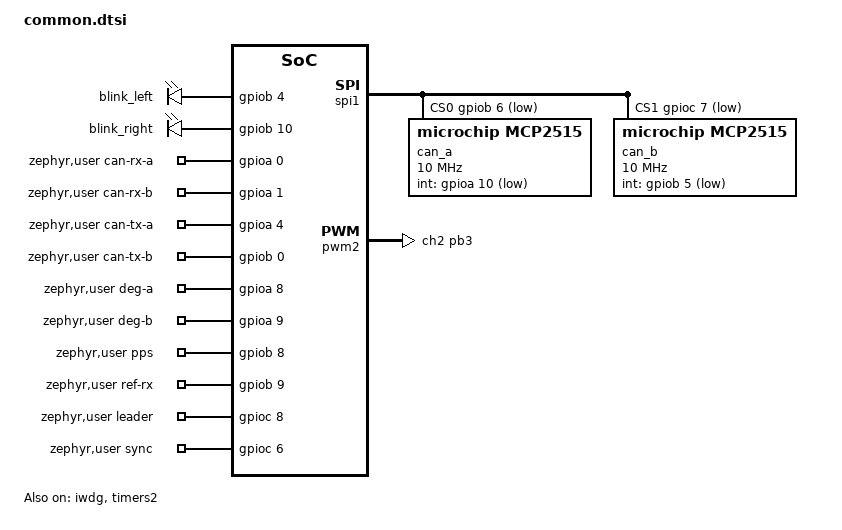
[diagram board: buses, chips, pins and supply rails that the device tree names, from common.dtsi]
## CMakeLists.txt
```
# one app for both STM32 zones:
#   west build -b nucleo_f401re -d build-front stm32 -- -DZONE=front
#   west build -b nucleo_f401re -d build-rear  stm32 -- -DZONE=rear
cmake_minimum_required(VERSION 3.20.0)

if(NOT ZONE MATCHES "^(front|rear)$")
  message(FATAL_ERROR "build with -DZONE=front or -DZONE=rear")
endif()
set(DTC_OVERLAY_FILE ${CMAKE_CURRENT_SOURCE_DIR}/${ZONE}.overlay)

find_package(Zephyr REQUIRED HINTS $ENV{ZEPHYR_BASE})
project(lab5_zone)

# raft.conf (shared with the Pi) -> raft_conf.h; editing raft.conf re-runs this
set(RAFT_CONF ${CMAKE_CURRENT_SOURCE_DIR}/../raft.conf)
set(RAFT_CONF_H ${CMAKE_CURRENT_BINARY_DIR}/gen/raft_conf.h)
file(MAKE_DIRECTORY ${CMAKE_CURRENT_BINARY_DIR}/gen)
execute_process(
  COMMAND ${PYTHON_EXECUTABLE} ${CMAKE_CURRENT_SOURCE_DIR}/../tools/gen_raft_conf.py ${RAFT_CONF} ${RAFT_CONF_H}
  RESULT_VARIABLE gen_result)
if(NOT gen_result EQUAL 0)
  message(FATAL_ERROR "raft.conf: see the error above")
endif()
set_property(DIRECTORY APPEND PROPERTY CMAKE_CONFIGURE_DEPENDS ${RAFT_CONF})

target_include_directories(app PRIVATE ../common ${CMAKE_CURRENT_BINARY_DIR}/gen)
target_compile_definitions(app PRIVATE RAFT_TRACK_REPLAY=0)
target_sources(app PRIVATE src/main.c src/can_io.c src/monitor.c src/blinker.c src/${ZONE}.c
  src/raft_agent.c src/pps.c ../common/raft.c ../common/timesync.c)
if(ZONE STREQUAL "front")
  target_compile_definitions(app PRIVATE ZONE_FRONT)
endif()
```

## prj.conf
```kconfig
CONFIG_GPIO=y
CONFIG_PWM=y
CONFIG_CAN=y
CONFIG_WATCHDOG=y
CONFIG_PRINTK=y

# MCP2515 driver thread runs above every app thread (app uses 3..8)
CONFIG_CAN_MCP2515_INT_THREAD_PRIO=2

# Lab 5: 64-bit cycle counter for the microsecond clock behind global time (84 MHz)
CONFIG_CORTEX_M_SYSTICK_64BIT_CYCLE_COUNTER=y
# Raft log (30 KB) and agent state live in .bss; console printouts go through printk
CONFIG_MAIN_STACK_SIZE=2048
```

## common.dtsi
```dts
/* pins shared by N2 and N3 (team pin reference); front/rear.overlay add the rest */
/ {
	blinkers {
		compatible = "gpio-leds";
		blink_left: blink_left { gpios = <&gpiob 4 GPIO_ACTIVE_HIGH>; };   /* FL / RL, D5 PB4 */
		blink_right: blink_right { gpios = <&gpiob 10 GPIO_ACTIVE_HIGH>; }; /* FR / RR, D6 PB10 */
	};

	zephyr,user {
		can-rx-a-gpios = <&gpioa 0 GPIO_ACTIVE_HIGH>;  /* CAN_RX_A, A0 PA0 */
		can-rx-b-gpios = <&gpioa 1 GPIO_ACTIVE_HIGH>;  /* CAN_RX_B, A1 PA1 */
		can-tx-a-gpios = <&gpioa 4 GPIO_ACTIVE_HIGH>;  /* CAN_TX_A, A2 PA4 */
		can-tx-b-gpios = <&gpiob 0 GPIO_ACTIVE_HIGH>;  /* CAN_TX_B, A3 PB0 */
		deg-a-gpios = <&gpioa 8 GPIO_ACTIVE_HIGH>;     /* DEG_A, D7 PA8 */
		deg-b-gpios = <&gpioa 9 GPIO_ACTIVE_HIGH>;     /* DEG_B, D8 PA9 */
		/* Lab 5 */
		pps-gpios = <&gpiob 8 GPIO_ACTIVE_HIGH>;       /* PPS, D15 PB8 */
		ref-rx-gpios = <&gpiob 9 GPIO_ACTIVE_HIGH>;    /* REF_RX, D14 PB9 */
		leader-gpios = <&gpioc 8 GPIO_ACTIVE_HIGH>;    /* LEADER LED, CN10-2 PC8 */
		sync-gpios = <&gpioc 6 GPIO_ACTIVE_HIGH>;      /* SYNC LED, CN10-4 PC6 */
	};
};

&spi1 {
	status = "okay";
	cs-gpios = <&gpiob 6 (GPIO_ACTIVE_LOW | GPIO_PULL_UP)>,  /* CAN A CS: D10 PB6 */
		   <&gpioc 7 (GPIO_ACTIVE_LOW | GPIO_PULL_UP)>;  /* CAN B CS: D9 PC7 */

	can_a: mcp2515@0 {
		compatible = "microchip,mcp2515";
		reg = <0>;
		spi-max-frequency = <10000000>;          /* MCP2515 max; STM32 rounds down to 5.25 MHz */
		int-gpios = <&gpioa 10 GPIO_ACTIVE_LOW>; /* D2 PA10 */
		osc-freq = <16000000>;                   /* must match the crystal on the module */
		bitrate = <500000>;
		status = "okay";
	};

	can_b: mcp2515@1 {
		compatible = "microchip,mcp2515";
		reg = <1>;
		spi-max-frequency = <10000000>;
		int-gpios = <&gpiob 5 GPIO_ACTIVE_LOW>;  /* D4 PB5 */
		osc-freq = <16000000>;
		bitrate = <500000>;
		status = "okay";
	};
};

/* board defaults that sit on our pins */
&usart1 { status = "disabled"; }; /* PB6/PB7: PB6 is CAN A CS */
&i2c3 { status = "disabled"; };   /* PA8/PC9: PA8 is DEG_A */
&i2c1 { status = "disabled"; };   /* PB8/PB9: PPS and REF_RX */
&adc1 { status = "disabled"; };   /* PA0: CAN_RX_A */

/* independent watchdog (R4.5) */
&iwdg { status = "okay"; };

/* TIM2 at 1 MHz (84 MHz / 84), channel 2 on PB3 only, so nothing lands on PA5 (SPI1 SCK) */
&timers2 {
	status = "okay";
	st,prescaler = <83>;
};

&pwm2 {
	pinctrl-0 = <&tim2_ch2_pb3>;
	pinctrl-names = "default";
	status = "okay";
};
```

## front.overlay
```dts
/* N2, steering zone */
#include "common.dtsi"

/ {
	zephyr,user {
		pwms = <&pwm2 2 PWM_MSEC(20) PWM_POLARITY_NORMAL>; /* SRV, D3 PB3 */
		relay-tx-gpios = <&gpioc 1 GPIO_ACTIVE_HIGH>;      /* RELAY_TX, A4 PC1 */
		err-gpios = <&gpioc 0 GPIO_ACTIVE_HIGH>;           /* ERR, A5 PC0 */
	};
};
```

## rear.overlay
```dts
/* N3, drivetrain zone (no ERR test point on N3) */
#include "common.dtsi"

/ {
	zephyr,user {
		pwms = <&pwm2 2 PWM_USEC(100) PWM_POLARITY_NORMAL>; /* PWM_OUT, D3 PB3, 10 kHz */
		pwm-set-gpios = <&gpioc 1 GPIO_ACTIVE_HIGH>;        /* PWM_SET, A4 PC1 */
		dir-a-gpios = <&gpioc 0 GPIO_ACTIVE_HIGH>;          /* DIR_A, A5 PC0 */
	};
};
```

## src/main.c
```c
#include <zephyr/sys/printk.h>
#include "zone.h"

int main(void)
{
	/* actuators first so the dispatch path never drives an unconfigured pin; the raft
	 * agent before CAN so it can take frames; monitor so heartbeats start only once both
	 * buses are up; PPS last */
	if (blinker_init() || actuator_init() || raft_agent_init() || can_io_init() ||
	    monitor_init() || pps_init()) {
		printk("zone %d: init failed\n", MY_ZONE);
		return 0;
	}
	printk("zone %d up\n", MY_ZONE);
	return 0;
}
```

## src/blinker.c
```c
/*
 * BLINK_F / BLINK_R on global time (Lab 5 Part 6).
 *
 * Lab 3: the lamps switched when the cockpit's BLINK frame arrived, so front and rear were
 * in step only while the Pi was there. Lab 5: the lamp state is a function of global time,
 * the same on every node, so they stay in step with no cockpit at all:
 *   - lamps change only on a 50 ms grid of global time;
 *   - hazards are on in the first half of each period counted from global time 0:
 *     2 Hz in the error state, 4 Hz in failure mode;
 *   - a turn signal counts its 1 Hz from the grid point the Pi picked for its start
 *     (CTRL b7 bits 2-7, 10-60 ms after the button, R2.4). Picking it on each STM32 from
 *     when CTRL arrived was not enough: a relayed copy arrives ~1 ms later, and just
 *     before a grid point that is a different grid point, 50 ms out of step;
 *   - failure mode is taken up only on a 250 ms boundary, where the 2 Hz and 4 Hz
 *     patterns both have an edge: every node learns it from the same REF, so every node
 *     switches on the same edge.
 */
#include <zephyr/drivers/gpio.h>
#include "timesync.h"
#include "zone.h"

#define GRID_US (BLINK_GRID_MS * 1000LL)
#define EARLY_US 200

static const struct gpio_dt_spec led_l = GPIO_DT_SPEC_GET(DT_NODELABEL(blink_left), gpios);
static const struct gpio_dt_spec led_r = GPIO_DT_SPEC_GET(DT_NODELABEL(blink_right), gpios);

static atomic_t ctrl_state = ATOMIC_INIT(BLINK_OFF);
static atomic_t ctrl_slot;
static atomic_t ctrl_ms;   /* k_uptime of the last CTRL */
static atomic_t ctrl_seen; /* 0 until the first CTRL */

/* called from dispatch for every valid CTRL */
void blinker_ctrl(uint8_t state, uint8_t slot)
{
	atomic_set(&ctrl_slot, slot);
	atomic_val_t old = atomic_set(&ctrl_state, state);

	atomic_set(&ctrl_ms, (atomic_val_t)k_uptime_get_32());
	atomic_set(&ctrl_seen, 1);
#ifdef ZONE_FRONT
	/* N2 logs the blinker on/off events (one node, so each change is logged once) */
	if (old != state) {
		static const uint8_t kind[] = { APP_BLINK_OFF, APP_LEFT_ON, APP_RIGHT_ON,
						APP_HAZARD_ON };

		raft_agent_event(kind[state & 3]);
	}
#else
	ARG_UNUSED(old);
#endif
}

/* on in the first half of each period counted from anchor; floor division, so a time
 * before 0 still lands on the right half */
static bool phase_on(int64_t g, int64_t anchor, int half_ms)
{
	return (ts_floor_div(g - anchor, half_ms * 1000LL) & 1) == 0;
}

static bool turn_on(int64_t g, int64_t anchor)
{
	return g >= anchor && phase_on(g, anchor, BLINK_HALF_MS);
}

/* the grid point nearest `edge` (within +/- 1.6 s) whose slot number is `slot` */
static int64_t slot_time(int64_t edge, uint8_t slot)
{
	int64_t k = ts_floor_div(edge, TURN_GRID_US);
	int delta = (int)((slot - k) & 0x3F);

	if (delta > 32) {
		delta -= 64;
	}
	return (k + delta) * TURN_GRID_US;
}

static void blink_task(void *p1, void *p2, void *p3)
{
	bool failure = false;
	uint8_t turn = BLINK_OFF, turn_slot = 0;
	int64_t turn_anchor = 0;
	int shown = -1;
	int64_t shown_anchor = -1;

	while (1) {
		int64_t edge = (ts_floor_div(global_gettime(), GRID_US) + 1) * GRID_US;

		k_sleep(K_TIMEOUT_ABS_US(global_to_local(edge) - EARLY_US));
		int64_t limit = local_us() + 2 * EARLY_US + 2000;

		while (global_gettime() < edge && local_us() < limit) {
		}

		if (edge - ts_floor_div(edge, HAZARD_HALF_MS * 1000LL) * HAZARD_HALF_MS * 1000LL == 0) {
			failure = raft_agent_failure_mode();
		}
		/* stamp first, then the clock, and a signed age: never "49 days old" for a CTRL
		 * that arrived in this same millisecond (the old `| 1` stamp did exactly that) */
		uint32_t stamp = (uint32_t)atomic_get(&ctrl_ms);
		int32_t age = (int32_t)(k_uptime_get_32() - stamp);
		bool fresh = atomic_get(&ctrl_seen) && age < BLINK_STALE_MS;
		uint8_t state = fresh ? (uint8_t)atomic_get(&ctrl_state) : BLINK_OFF;
		uint8_t slot = (uint8_t)atomic_get(&ctrl_slot);
		bool l, r;

		if (state == BLINK_LEFT || state == BLINK_RIGHT) {
			if (turn != state || turn_slot != slot) {
				/* latch it once: slot numbers repeat every 3.2 s */
				turn = state;
				turn_slot = slot;
				turn_anchor = slot_time(edge, slot); /* the 1 Hz starts there, lamps on */
			}
		} else if (fresh) {
			turn = BLINK_OFF; /* only a CTRL saying "not a turn" drops the latch */
		}

		if (failure) {
			l = r = phase_on(edge, 0, FAILURE_HALF_MS);
		} else if (monitor_in_error() || state == BLINK_HAZARD) {
			l = r = phase_on(edge, 0, HAZARD_HALF_MS);
		} else if (turn != BLINK_OFF && fresh) {
			bool on = turn_on(edge, turn_anchor);

			l = on && turn == BLINK_LEFT;
			r = on && turn == BLINK_RIGHT;
		} else {
			l = r = false;
		}
		gpio_pin_set_dt(&led_l, l);
		gpio_pin_set_dt(&led_r, r);

		/* say what the lamps are following, on every change: compare N2's and N3's lines */
		int mode = failure ? 4 : (monitor_in_error() || state == BLINK_HAZARD) ? 3 : turn;

		if (RAFT_CONF_DEBUG &&
		    (mode != shown || (turn != BLINK_OFF && turn_anchor != shown_anchor))) {
			static const char *const name[] = { "off", "LEFT 1 Hz", "RIGHT 1 Hz",
							    "hazard 2 Hz", "failure 4 Hz" };

			agent_printf("[%lld] blink: %s, global %lld.%06lld, turn start %lld.%06lld",
				     k_uptime_get(), name[mode], edge / 1000000, edge % 1000000,
				     turn_anchor / 1000000, turn_anchor % 1000000);
			shown = mode;
			shown_anchor = turn_anchor;
		}
	}
}

K_THREAD_DEFINE(blink_tid, 1024, blink_task, NULL, NULL, NULL, PRIO_ACT, 0, SYS_FOREVER_MS);

int blinker_init(void)
{
	if (!gpio_is_ready_dt(&led_l) || !gpio_is_ready_dt(&led_r) ||
	    gpio_pin_configure_dt(&led_l, GPIO_OUTPUT_INACTIVE) ||
	    gpio_pin_configure_dt(&led_r, GPIO_OUTPUT_INACTIVE)) {
		return -ENODEV;
	}
	k_thread_start(blink_tid);
	return 0;
}
```

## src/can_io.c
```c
/* both CAN controllers: receive + dedup + dispatch (CAN_RX), send on both buses, RELAY */
#include <string.h>
#include <zephyr/drivers/can.h>
#include <zephyr/drivers/gpio.h>
#include "zone.h"

#define USER DT_PATH(zephyr_user)

static const struct device *const can_dev[2] = {
	DEVICE_DT_GET(DT_NODELABEL(can_a)),
	DEVICE_DT_GET(DT_NODELABEL(can_b)),
};
static const struct gpio_dt_spec rx_pin[2] = {
	GPIO_DT_SPEC_GET(USER, can_rx_a_gpios),
	GPIO_DT_SPEC_GET(USER, can_rx_b_gpios),
};
static const struct gpio_dt_spec tx_pin[2] = {
	GPIO_DT_SPEC_GET(USER, can_tx_a_gpios),
	GPIO_DT_SPEC_GET(USER, can_tx_b_gpios),
};
static const struct gpio_dt_spec ref_rx_pin = GPIO_DT_SPEC_GET(USER, ref_rx_gpios);

/*
 * Zephyr's MCP2515 driver uses one TX buffer (MCP2515_TX_CNT = 1), so a frame queued
 * while another is still going out has to wait for it. 3 ms covers a few 270 us frames
 * ahead of it; on a dead bus the send gives up after that instead of blocking forever.
 */
#define TX_WAIT K_MSEC(3)

struct rx_item {
	struct can_frame f;
	int64_t rx_us; /* when the frame finished arriving: the time sync pairs these */
	uint8_t bus;   /* where it came from, or for the relay queue, where it goes */
};

K_MSGQ_DEFINE(rx_q, sizeof(struct rx_item), 16, 4);

/* runs in the MCP2515 driver thread: stamp, copy, hand off, nothing else */
static void rx_cb(const struct device *dev, struct can_frame *f, void *user)
{
	struct rx_item it = { .rx_us = local_us(), .f = *f, .bus = (uint8_t)(uintptr_t)user };

	ARG_UNUSED(dev);
	k_msgq_put(&rx_q, &it, K_NO_WAIT);
}

/* a non-NULL callback makes can_send return right away instead of waiting for the bus */
static void tx_done(const struct device *dev, int err, void *user)
{
	ARG_UNUSED(dev);
	ARG_UNUSED(err);
	ARG_UNUSED(user);
}

/* queue one frame on both controllers back to back; seq goes up once per message */
void send_both(uint16_t id, atomic_t *seq, uint8_t d[MSG_DLC])
{
	struct can_frame f = { .id = id, .dlc = MSG_DLC };

	d[0] = (d[0] & 0xF0) | (atomic_inc(seq) & 0x0F);
	memcpy(f.data, d, MSG_DLC);
	for (int bus = 0; bus < 2; bus++) {
		gpio_pin_set_dt(&tx_pin[bus], 1);
		/* a dead bus just loses its copy; the other bus still carries the frame */
		can_send(can_dev[bus], &f, TX_WAIT, tx_done, NULL);
		gpio_pin_set_dt(&tx_pin[bus], 0);
	}
}

/* REF: each bus gets its own payload (its own follow-up time) under one seq */
static void (*ref_done_cb)(int bus);

static void ref_tx_done(const struct device *dev, int err, void *user)
{
	ARG_UNUSED(dev);
	if (!err && ref_done_cb) {
		ref_done_cb((int)(uintptr_t)user);
	}
}

void send_ref(uint16_t id, atomic_t *seq, uint8_t d[2][MSG_DLC], void (*done)(int bus))
{
	uint8_t s = atomic_inc(seq) & 0x0F;

	ref_done_cb = done;
	for (int bus = 0; bus < 2; bus++) {
		struct can_frame f = { .id = id, .dlc = MSG_DLC };

		d[bus][0] = (d[bus][0] & 0xF0) | s;
		memcpy(f.data, d[bus], MSG_DLC);
		gpio_pin_set_dt(&tx_pin[bus], 1);
		can_send(can_dev[bus], &f, TX_WAIT, ref_tx_done, (void *)(uintptr_t)bus);
		gpio_pin_set_dt(&tx_pin[bus], 0);
	}
}

/* RELAY_TX is a test point on N2 only; N3 uses that pin for PWM_SET */
static const struct gpio_dt_spec relay_pin = GPIO_DT_SPEC_GET_OR(USER, relay_tx_gpios, {0});

K_MSGQ_DEFINE(relay_q, sizeof(struct rx_item), 16, 4);

atomic_t relay_zone; /* written by the raft agent from route_relay() */

/*
 * Forward-on-detect, as in Lab 3: once a zone is missing on one bus while it is still
 * talking on the other, everything it sends is copied across. Who does it comes from
 * route_relay() (route.h): N2, else N3 when N2 is off a bus, else the Pi, and never a node
 * the Raft network graph has off a bus. The same choice on every node.
 * A forwarded copy carries FLAG_RELAYED and is never forwarded again, and a receiver
 * that also got the direct copy drops the relayed one as a duplicate.
 */
static void relay_offer(const struct rx_item *it, int zone)
{
	int to = 1 - it->bus;

	if (atomic_get(&relay_zone) != MY_ZONE) {
		return;
	}
	if (monitor_hb_on_bus(zone, to) || monitor_bus_degraded(to)) {
		return;
	}
	struct rx_item out = { .f = it->f, .bus = to };
	out.f.data[0] |= FLAG_RELAYED;
	k_msgq_put(&relay_q, &out, K_NO_WAIT);
}

static void relay_task(void *p1, void *p2, void *p3)
{
	struct rx_item it;

	while (1) {
		k_msgq_get(&relay_q, &it, K_FOREVER);
		if (relay_pin.port) {
			gpio_pin_set_dt(&relay_pin, 1);
		}
		can_send(can_dev[it.bus], &it.f, TX_WAIT, tx_done, NULL);
		if (relay_pin.port) {
			gpio_pin_set_dt(&relay_pin, 0);
		}
	}
}

K_THREAD_DEFINE(relay_tid, 1024, relay_task, NULL, NULL, NULL, PRIO_RELAY, 0, SYS_FOREVER_MS);

static struct dedup dd[MSG_COUNT];

static void handle(const struct rx_item *it)
{
	const struct can_frame *f = &it->f;
	int idx = msg_index(f->id);
	int zone = msg_sender(f->id, f->data);

	if (f->dlc != MSG_DLC || (f->flags & (CAN_FRAME_IDE | CAN_FRAME_RTR)) || idx < 0 ||
	    zone < ZONE_N1 || zone > ZONE_N3 || zone == MY_ZONE) {
		return;
	}
	bool relayed = f->data[0] & FLAG_RELAYED;

	/* both copies count for liveness, only the first one goes on to the tasks */
	monitor_rx(it->bus, zone, is_hb(f->id), relayed);
	bool copy = dedup_is_copy(&dd[idx], SEQ(f->data), it->bus);

	if (!copy && !relayed) {
		relay_offer(it, zone);
	}
	/* brake path first: nothing below may delay CTRL */
	if (!copy && f->id == ID_CTRL) {
		struct ctrl c;
		bool ok = ctrl_decode(f->data, &c);

		monitor_ctrl(ok);
		if (ok) {
			actuator_ctrl(&c);
			blinker_ctrl(c.blink, c.turn_slot);
		}
	}
	if (!copy && raft_base(f->id) == ID_REF_BASE) {
		gpio_pin_toggle_dt(&ref_rx_pin);
	}
	/* Raft, routing and time sync: every copy, through the agent's queue */
	if (is_raft(f->id) || is_hb(f->id)) {
		struct raft_rx r = { .bus = it->bus, .relayed = relayed, .first = !copy,
				     .rx_us = it->rx_us };

		r.f.id = (uint16_t)f->id;
		memcpy(r.f.data, f->data, MSG_DLC);
		raft_agent_rx(&r);
	}
	/* FAULT and FORCE need nothing here; BLINK (Lab 3) is no longer sent */
}

/* CAN_RX dispatch: one path for both buses */
static void dispatch_task(void *p1, void *p2, void *p3)
{
	struct rx_item it;

	while (1) {
		k_msgq_get(&rx_q, &it, K_FOREVER);
		gpio_pin_set_dt(&rx_pin[it.bus], 1);
		handle(&it);
		gpio_pin_set_dt(&rx_pin[it.bus], 0);
	}
}

K_THREAD_DEFINE(dispatch_tid, 1024, dispatch_task, NULL, NULL, NULL, PRIO_DISPATCH, 0,
		SYS_FOREVER_MS);

int can_io_init(void)
{
#define FILTER(i, m) { .id = (i), .mask = (m) },
	static const struct can_filter filters[] = { CAN_RX_FILTERS(FILTER) };
#undef FILTER

	for (int bus = 0; bus < 2; bus++) {
		if (!device_is_ready(can_dev[bus]) ||
		    gpio_pin_configure_dt(&rx_pin[bus], GPIO_OUTPUT_INACTIVE) ||
		    gpio_pin_configure_dt(&tx_pin[bus], GPIO_OUTPUT_INACTIVE)) {
			return -ENODEV;
		}
	}
	if (gpio_pin_configure_dt(&ref_rx_pin, GPIO_OUTPUT_INACTIVE)) {
		return -ENODEV;
	}
	if (relay_pin.port && gpio_pin_configure_dt(&relay_pin, GPIO_OUTPUT_INACTIVE)) {
		return -ENODEV;
	}
	atomic_set(&relay_zone, ZONE_NONE);
	k_thread_start(relay_tid);
	k_thread_start(dispatch_tid);

	for (int bus = 0; bus < 2; bus++) {
		for (size_t i = 0; i < ARRAY_SIZE(filters); i++) {
			if (can_add_rx_filter(can_dev[bus], rx_cb, (void *)(uintptr_t)bus,
					      &filters[i]) < 0) {
				return -EIO;
			}
		}
		if (can_start(can_dev[bus])) {
			return -EIO;
		}
	}
	return 0;
}
```

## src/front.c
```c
/* N2 (steering): STEER and FORCE_TX */
#include <zephyr/drivers/pwm.h>
#include "zone.h"

static const struct pwm_dt_spec servo = PWM_DT_SPEC_GET(DT_PATH(zephyr_user));

static K_SEM_DEFINE(ctrl_sem, 0, 1);
static K_MUTEX_DEFINE(ctrl_lock);
static struct ctrl latest;

void actuator_ctrl(const struct ctrl *c)
{
	k_mutex_lock(&ctrl_lock, K_FOREVER);
	latest = *c;
	k_mutex_unlock(&ctrl_lock);
	k_sem_give(&ctrl_sem);
}

void actuator_error(void)
{
	/* steering keeps following the wheel in the error state, unless this zone's
	 * own test button failed it (STEER holds the servo then) */
}

/* STEER: -450..450 deg -> 1..2 ms servo pulse */
static void steer_task(void *p1, void *p2, void *p3)
{
	while (1) {
		k_sem_take(&ctrl_sem, K_FOREVER);
		if (monitor_self_test()) {
			continue; /* this zone failed itself: hold the servo (R3) */
		}
		k_mutex_lock(&ctrl_lock, K_FOREVER);
		int steer = latest.steer;
		k_mutex_unlock(&ctrl_lock);

		pwm_set_pulse_dt(&servo, PWM_USEC(1500 + steer * 500 / STEER_MAX));
	}
}

/* FORCE_TX: 50 ms, payload is a dummy counter this lab */
static void force_task(void *p1, void *p2, void *p3)
{
	static atomic_t seq;
	int8_t count = 0;
	int64_t next = k_uptime_get();

	while (1) {
		next += FORCE_PERIOD_MS;
		k_sleep(K_TIMEOUT_ABS_MS(next));
		uint8_t d[MSG_DLC] = { 0, (uint8_t)count++ };
		send_both(ID_FORCE, &seq, d);
	}
}

K_THREAD_DEFINE(steer_tid, 1024, steer_task, NULL, NULL, NULL, PRIO_ACT, 0, SYS_FOREVER_MS);
K_THREAD_DEFINE(force_tid, 1024, force_task, NULL, NULL, NULL, PRIO_FORCE, 0, SYS_FOREVER_MS);

int actuator_init(void)
{
	if (!pwm_is_ready_dt(&servo) || pwm_set_pulse_dt(&servo, PWM_USEC(1500))) {
		return -ENODEV;
	}
	k_thread_start(steer_tid);
	k_thread_start(force_tid); /* first send is 50 ms out, after CAN is started */
	return 0;
}
```

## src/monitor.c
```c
/* HB_TX, HB_MON (liveness, degraded LEDs, error state, watchdog) and TEST_BTN */
#include <zephyr/drivers/gpio.h>
#include <zephyr/drivers/watchdog.h>
#include "zone.h"

#define USER DT_PATH(zephyr_user)

/* N3 has no ERR test point, so the pin is optional */
static const struct gpio_dt_spec err_pin = GPIO_DT_SPEC_GET_OR(USER, err_gpios, {0});
static const struct gpio_dt_spec deg_pin[2] = {
	GPIO_DT_SPEC_GET(USER, deg_a_gpios),
	GPIO_DT_SPEC_GET(USER, deg_b_gpios),
};
static const struct gpio_dt_spec button = GPIO_DT_SPEC_GET(DT_ALIAS(sw0), gpios);
static const struct device *const wdt = DEVICE_DT_GET(DT_NODELABEL(iwdg));

/* shared with the dispatch path and the actuator tasks; times in ms, 0 = never */
static K_MUTEX_DEFINE(lock);
static int64_t hb_ms[4][2]; /* [zone][bus] last heartbeat, direct or relayed */
static int64_t direct_ms[4][2]; /* [zone][bus] last frame of any kind heard straight from it */
static int64_t hb_direct_ms[4][2]; /* [zone][bus] last heartbeat heard straight from it */
static int64_t any_ms[2];   /* [bus] last frame from any other zone */
static int64_t ctrl_ms;     /* last valid CTRL */
static int64_t bad_cmd_ms;  /* last out-of-range CTRL */
static bool ctrl_since_error;
static bool in_error = true; /* power up in error (R3) */
static bool self_test;
static bool deg[2];

static int wdt_channel;
static atomic_t fault_seq;

static void set_err(int v)
{
	if (err_pin.port) {
		gpio_pin_set_dt(&err_pin, v);
	}
}

static bool recent(int64_t t, int64_t now, int64_t window)
{
	return t > 0 && now - t < window;
}

static void enter_error(int zone, int reason)
{
	k_mutex_lock(&lock, K_FOREVER);
	bool was = in_error;

	in_error = true;
	ctrl_since_error = false;
	k_mutex_unlock(&lock);
	if (was) {
		return;
	}

	set_err(1);
	actuator_error();
	{
		static const char *const why[] = { "?", "heartbeat lost", "bad CTRL", "test button",
						   "CTRL lost" };

		agent_printf("[%lld] monitor: ERROR, zone %d %s", k_uptime_get(), zone,
			     why[reason >= 1 && reason <= 4 ? reason : 0]);
	}
	uint8_t d[MSG_DLC] = { 0, zone, reason, MY_ZONE };
	send_both(ID_FAULT, &fault_seq, d);
}

void monitor_rx(int bus, int zone, bool hb, bool relayed)
{
	int64_t now = k_uptime_get();

	k_mutex_lock(&lock, K_FOREVER);
	any_ms[bus] = now;
	if (hb) {
		hb_ms[zone][bus] = now;
		if (!relayed) {
			hb_direct_ms[zone][bus] = now;
		}
	}
	/* relay presence (Lab 5): any direct frame, so a Pi leading with the proxy stopped
	 * (REF but no heartbeat) is not mistaken for missing and relayed for nothing */
	if (!relayed) {
		direct_ms[zone][bus] = now;
	}
	k_mutex_unlock(&lock);
}

void monitor_ctrl(bool valid)
{
	int64_t now = k_uptime_get();

	k_mutex_lock(&lock, K_FOREVER);
	if (valid) {
		ctrl_ms = now;
		ctrl_since_error = true;
	} else {
		bad_cmd_ms = now;
	}
	k_mutex_unlock(&lock);

	if (!valid) {
		raft_agent_event(APP_BAD_CTRL);
		enter_error(MY_ZONE, FAULT_BAD_CTRL);
	}
}

bool monitor_in_error(void)
{
	k_mutex_lock(&lock, K_FOREVER);
	bool e = in_error;
	k_mutex_unlock(&lock);
	return e;
}

/* true while this zone's test button has failed it */
bool monitor_self_test(void)
{
	k_mutex_lock(&lock, K_FOREVER);
	bool t = self_test;
	k_mutex_unlock(&lock);
	return t;
}

bool monitor_sending_hb(void)
{
	return !monitor_self_test();
}

uint8_t monitor_deg_bits(void)
{
	k_mutex_lock(&lock, K_FOREVER);
	uint8_t d = (deg[0] ? HEALTH_A_DEG : 0) | (deg[1] ? HEALTH_B_DEG : 0);
	k_mutex_unlock(&lock);
	return d;
}

/* route.h: zone's own heartbeat heard directly on both buses lately */
bool monitor_hb_both(int zone)
{
	k_mutex_lock(&lock, K_FOREVER);
	int64_t now = k_uptime_get();
	bool on = recent(hb_direct_ms[zone][0], now, RELAY_DETECT_MS) &&
		  recent(hb_direct_ms[zone][1], now, RELAY_DETECT_MS);
	k_mutex_unlock(&lock);
	return on;
}

/*
 * Is `zone` present on `bus`, for forward-on-detect? Direct frames only: another relay's
 * copies must not switch this relay off. Judged by its heartbeat, as in Lab 3: timing it
 * from its last frame of any kind (the Pi's CTRL comes between its heartbeats) started
 * relaying up to 19 ms later, and the first relayed heartbeat could arrive 60+ ms after the
 * last one, at the 65 ms heartbeat timeout. Only a zone that sends no heartbeat at all
 * (the Pi leading with the proxy stopped) is judged by any frame.
 */
bool monitor_hb_on_bus(int zone, int bus)
{
	k_mutex_lock(&lock, K_FOREVER);
	int64_t now = k_uptime_get();
	bool beating = recent(hb_ms[zone][0], now, HB_TIMEOUT_MS) ||
		       recent(hb_ms[zone][1], now, HB_TIMEOUT_MS);
	bool on = beating ? recent(hb_direct_ms[zone][bus], now, RELAY_DETECT_MS)
			  : recent(direct_ms[zone][bus], now, RELAY_DETECT_MS);
	k_mutex_unlock(&lock);
	return on;
}

bool monitor_bus_degraded(int bus)
{
	k_mutex_lock(&lock, K_FOREVER);
	bool d = deg[bus];
	k_mutex_unlock(&lock);
	return d;
}

/* HB_TX: 20 ms */
static void hb_tx_task(void *p1, void *p2, void *p3)
{
	static atomic_t seq;
	int64_t next = k_uptime_get();

	while (1) {
		k_mutex_lock(&lock, K_FOREVER);
		bool quiet = self_test;
		uint8_t d[MSG_DLC] = { 0, in_error ? STATE_ERROR : STATE_NORMAL,
				       (deg[0] ? HEALTH_A_DEG : 0) | (deg[1] ? HEALTH_B_DEG : 0),
				       raft_agent_hb_sync_bits() };
		k_mutex_unlock(&lock);

		if (!quiet) {
			send_both(MY_HB, &seq, d); /* silence is how the others see the test button */
		}
		next += HB_PERIOD_MS;
		k_sleep(K_TIMEOUT_ABS_MS(next));
	}
}

/* HB_MON: liveness of the other zones per bus, degraded LEDs, error state */
static void hb_mon_task(void *p1, void *p2, void *p3)
{
	int64_t next = k_uptime_get();

	while (1) {
		int64_t now = k_uptime_get();

		k_mutex_lock(&lock, K_FOREVER);
		bool n1 = recent(hb_ms[ZONE_N1][0], now, HB_TIMEOUT_MS) ||
			  recent(hb_ms[ZONE_N1][1], now, HB_TIMEOUT_MS);
		bool peer = recent(hb_ms[PEER_ZONE][0], now, HB_TIMEOUT_MS) ||
			    recent(hb_ms[PEER_ZONE][1], now, HB_TIMEOUT_MS);
		bool ctrl_ok = recent(ctrl_ms, now, CTRL_TIMEOUT_MS);
		bool bad_hold = recent(bad_cmd_ms, now, BAD_CMD_HOLD_MS);
		bool ok = n1 && peer && ctrl_ok && !self_test && !bad_hold;

		for (int b = 0; b < 2; b++) {
			deg[b] = !recent(any_ms[b], now, DEG_TIMEOUT_MS);
		}
		/* out of error only with both other zones heard and a fresh valid CTRL (R3) */
		bool leave = in_error && ok && ctrl_since_error;
		bool enter = !in_error && !ok;

		if (leave) {
			in_error = false;
		}
		bool d0 = deg[0], d1 = deg[1];
		k_mutex_unlock(&lock);

		gpio_pin_set_dt(&deg_pin[0], d0);
		gpio_pin_set_dt(&deg_pin[1], d1);
		if (leave) {
			set_err(0);
			agent_printf("[%lld] monitor: NORMAL", now);
		}
		if (enter) {
			enter_error(!peer ? PEER_ZONE : ZONE_N1,
				    (n1 && peer) ? FAULT_CTRL_LOST : FAULT_HB_LOST);
		}
		wdt_feed(wdt, wdt_channel);

		next += MON_PERIOD_MS;
		k_sleep(K_TIMEOUT_ABS_MS(next));
	}
}

/* TEST_BTN: the ISR only wakes the task; single press fails the zone, double press clears */
static K_SEM_DEFINE(btn_sem, 0, 1);
static struct gpio_callback btn_cb;
static int64_t btn_edge_ms;

static void btn_isr(const struct device *dev, struct gpio_callback *cb, uint32_t pins)
{
	int64_t now = k_uptime_get();

	/* the first edge counts right away; bounces right after it don't */
	if (now - btn_edge_ms >= DEBOUNCE_MS) {
		k_sem_give(&btn_sem);
	}
	btn_edge_ms = now;
}

static void btn_task(void *p1, void *p2, void *p3)
{
	int64_t last_press = 0;

	while (1) {
		k_sem_take(&btn_sem, K_FOREVER);
		int64_t now = k_uptime_get();

		k_mutex_lock(&lock, K_FOREVER);
		bool clear = self_test && now - last_press <= DOUBLE_PRESS_MS;

		self_test = !clear;
		k_mutex_unlock(&lock);

		if (clear) {
			last_press = 0; /* HB_MON decides when we leave error */
			agent_printf("[%lld] test button: self-test cleared, heartbeat back (the zone "
				     "leaves error once every other zone and CTRL are back)", now);
		} else {
			agent_printf("[%lld] test button: zone failed itself, heartbeat stopped", now);
			last_press = now;
			raft_agent_event(APP_TEST_BTN);
			enter_error(MY_ZONE, FAULT_TEST_BTN);
		}
	}
}

K_THREAD_DEFINE(hb_tx_tid, 1024, hb_tx_task, NULL, NULL, NULL, PRIO_HB, 0, SYS_FOREVER_MS);
K_THREAD_DEFINE(hb_mon_tid, 1024, hb_mon_task, NULL, NULL, NULL, PRIO_HB, 0, SYS_FOREVER_MS);
K_THREAD_DEFINE(btn_tid, 1024, btn_task, NULL, NULL, NULL, PRIO_BTN, 0, SYS_FOREVER_MS);

int monitor_init(void)
{
	if (err_pin.port && gpio_pin_configure_dt(&err_pin, GPIO_OUTPUT_ACTIVE)) {
		return -ENODEV;
	}
	if (!gpio_is_ready_dt(&button) || !device_is_ready(wdt) ||
	    gpio_pin_configure_dt(&deg_pin[0], GPIO_OUTPUT_INACTIVE) ||
	    gpio_pin_configure_dt(&deg_pin[1], GPIO_OUTPUT_INACTIVE) ||
	    gpio_pin_configure_dt(&button, GPIO_INPUT)) {
		return -ENODEV;
	}
	gpio_init_callback(&btn_cb, btn_isr, BIT(button.pin));
	gpio_add_callback(button.port, &btn_cb);
	gpio_pin_interrupt_configure_dt(&button, GPIO_INT_EDGE_TO_ACTIVE);

	struct wdt_timeout_cfg cfg = {
		.window = { .min = 0, .max = WDT_TIMEOUT_MS },
		.flags = WDT_FLAG_RESET_SOC,
	};
	wdt_channel = wdt_install_timeout(wdt, &cfg);
	if (wdt_channel < 0 || wdt_setup(wdt, WDT_OPT_PAUSE_HALTED_BY_DBG)) {
		return -EIO;
	}

	k_thread_start(hb_tx_tid);
	k_thread_start(hb_mon_tid);
	k_thread_start(btn_tid);
	return 0;
}
```

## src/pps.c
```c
/*
 * PPS (Lab 5 Part 6.4): a rising edge on the PPS pin at every whole second of
 * global_gettime(), and a console line for each one. All nodes derive the edge from the
 * same global time, so the spread of the edges on a scope is the sync error.
 */
#include <zephyr/drivers/gpio.h>
#include "timesync.h"
#include "zone.h"

#define PPS_EARLY_US 300    /* wake this long before the edge, then poll */
#define PPS_WIDTH_MS 100

static const struct gpio_dt_spec pps = GPIO_DT_SPEC_GET(DT_PATH(zephyr_user), pps_gpios);

static void pps_task(void *p1, void *p2, void *p3)
{
	while (1) {
		int64_t edge = (ts_floor_div(global_gettime(), 1000000) + 1) * 1000000;
		int64_t wake = global_to_local(edge) - PPS_EARLY_US;

		k_sleep(K_TIMEOUT_ABS_US(wake));

		/* poll the last few hundred us; give up if global time moved under us */
		int64_t g, l, limit = local_us() + 2 * PPS_EARLY_US + 2000;

		while ((g = global_gettime()) < edge && (l = local_us()) < limit) {
		}
		if (g < edge || g > edge + 1000) {
			continue; /* stepped: no edge this second rather than a wrong one */
		}
		gpio_pin_set_dt(&pps, 1);
		l = local_us();

		struct timesync t;

		raft_agent_ts(&t);
		char ppm[12];

		/* Part 6.4: global and local time at the edge, drift ratio, last correction */
		agent_printf("PPS %lld: global %lld.%06lld local %lld.%06lld drift %s ppm corr %+d us%s",
			     edge / 1000000, g / 1000000, g % 1000000, l / 1000000, l % 1000000,
			     ts_ppm(ppm, t.ppb), t.last_error_us,
			     raft_agent_hb_sync_bits() & SYNC_LOCKED ? (t.locked ? "" : " (master)")
								     : " UNSYNCED");
		k_sleep(K_MSEC(PPS_WIDTH_MS));
		gpio_pin_set_dt(&pps, 0);
	}
}

K_THREAD_DEFINE(pps_tid, 1024, pps_task, NULL, NULL, NULL, PRIO_PPS, 0, SYS_FOREVER_MS);

int pps_init(void)
{
	if (gpio_pin_configure_dt(&pps, GPIO_OUTPUT_INACTIVE)) {
		return -ENODEV;
	}
	k_thread_start(pps_tid);
	return 0;
}
```

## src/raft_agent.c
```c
/*
 * RAFT agent (Lab 5 Parts 1-6 on the STM32s): the Raft agent + client + state machine
 * from common/raft.c, the time sync from common/timesync.c, the relay choice from
 * common/route.h, REF_TX when leading, LEADER and SYNC LEDs, and the console printouts.
 *
 * Threads: RAFT (agent, 2 ms tick) owns struct raft; REF_TX sends REF every heartbeat_ms
 * while leading; PRINT does all console output. The dispatch thread only queues frames
 * here (raft_agent_rx), so nothing on the CTRL/brake path ever waits for Raft.
 */
#include <stdarg.h>
#include <string.h>
#include <zephyr/drivers/gpio.h>
#include <zephyr/spinlock.h>
#include <time.h>
#include <zephyr/sys/clock.h>
#include <zephyr/sys/printk.h>
#include "route.h"
#include "timesync.h"
#include "zone.h"

#define USER DT_PATH(zephyr_user)

static const struct gpio_dt_spec leader_led = GPIO_DT_SPEC_GET(USER, leader_gpios);
static const struct gpio_dt_spec sync_led = GPIO_DT_SPEC_GET(USER, sync_gpios);

static struct raft R;
static K_MUTEX_DEFINE(raft_lock);

static struct timesync TS;
static struct k_spinlock ts_lock;

static atomic_t seqs[MSG_COUNT];
static atomic_t failure_mode;
static atomic_t sync_bits;

K_MSGQ_DEFINE(agent_q, sizeof(struct raft_rx), 32, 4);
K_MSGQ_DEFINE(event_q, sizeof(uint8_t), 16, 1);

/* ---------------------------------------------------------------- clocks */

int64_t local_us(void)
{
	return (int64_t)k_cyc_to_us_floor64(k_cycle_get_64());
}

int64_t global_gettime(void)
{
	k_spinlock_key_t key = k_spin_lock(&ts_lock);
	int64_t g = ts_global(&TS, local_us());

	k_spin_unlock(&ts_lock, key);
	return g;
}

int64_t global_to_local(int64_t g)
{
	int64_t l = local_us();

	/* the model's rate is within 1000 ppm of 1: good to 1 ms over a second, and the
	 * callers finish by polling global_gettime() */
	return l + (g - global_gettime());
}

static void set_realtime(int64_t g)
{
	struct timespec t = { .tv_sec = g / 1000000, .tv_nsec = (long)(g % 1000000) * 1000 };

	sys_clock_settime(SYS_CLOCK_REALTIME, &t); /* what POSIX clock_settime() calls */
}

/* ---------------------------------------------------------------- printing */

enum { PR_APPLIED, PR_TEXT };
struct print_item {
	uint8_t kind;
	uint8_t event;
	bool replayed;
	uint16_t index;
	uint32_t term;
	struct net_state net; /* the network as of this commit, not as of printing */
	char text[120];
};
K_MSGQ_DEFINE(print_q, sizeof(struct print_item), 16, 4);

static void vqueue_text(const char *fmt, va_list ap)
{
	struct print_item p = { .kind = PR_TEXT };

	vsnprintk(p.text, sizeof(p.text), fmt, ap);
	k_msgq_put(&print_q, &p, K_NO_WAIT); /* full: drop it, never block the caller */
}

static void io_log(void *ctx, const char *fmt, ...)
{
	va_list ap;

	ARG_UNUSED(ctx);
	va_start(ap, fmt);
	vqueue_text(fmt, ap);
	va_end(ap);
}

void agent_printf(const char *fmt, ...)
{
	va_list ap;

	va_start(ap, fmt);
	vqueue_text(fmt, ap);
	va_end(ap);
}

void raft_agent_ts(struct timesync *out)
{
	k_spinlock_key_t key = k_spin_lock(&ts_lock);

	*out = TS;
	k_spin_unlock(&ts_lock, key);
}

static void io_applied(void *ctx, uint16_t index, uint32_t term, uint8_t e, bool replayed)
{
	struct print_item p = { .kind = PR_APPLIED, .event = e, .replayed = replayed,
				.index = index, .term = term, .net = R.net };

	ARG_UNUSED(ctx); /* called by raft with raft_lock held, so R.net is this commit's state */
	k_msgq_put(&print_q, &p, K_NO_WAIT);
}

static void io_send(void *ctx, uint16_t id, uint8_t d[MSG_DLC])
{
	ARG_UNUSED(ctx);
	send_both(id, &seqs[msg_index(id)], d);
}

static void print_task(void *p1, void *p2, void *p3)
{
	struct print_item p;
	int64_t next_status = k_uptime_get() + STATUS_PRINT_MS;

	while (1) {
		int64_t wait = next_status - k_uptime_get();

		if (k_msgq_get(&print_q, &p, K_MSEC(wait > 0 ? wait : 0)) == 0) {
			if (p.kind == PR_TEXT) {
				printk("%s\n", p.text);
				continue;
			}
			char name[24], net[160];

			raft_event_name(p.event, name, sizeof(name));
			printk("[%lld] commit %u term %u %s%s\n", k_uptime_get(), p.index, p.term, name,
			       p.replayed ? " (replayed)" : "");
			if (ev_kind(p.event) != EVK_APP && ev_kind(p.event) != EVK_COCKPIT) {
				net_state_print(&p.net, net, sizeof(net));
				printk("  getNetwork: %s\n", net);
			}
			continue;
		}
		/* every 5 s: who leads, and (Part 6.2) the drift correction being applied */
		struct timesync t;
		k_spinlock_key_t key = k_spin_lock(&ts_lock);

		t = TS;
		k_spin_unlock(&ts_lock, key);
		k_mutex_lock(&raft_lock, K_FOREVER);
		uint8_t leader = R.leader, role = R.role;
		uint32_t term = R.term;
		k_mutex_unlock(&raft_lock);

		char ppm[12];

		printk("[%lld] status: leader %s, term %u, this node %s | time %s, drift %s ppm, "
		       "correcting %+d us\n",
		       k_uptime_get(), raft_node_name(leader), term, raft_role_name(role),
		       role == ROLE_LEADER ? "master" : t.locked ? "locked" : "FREE",
		       ts_ppm(ppm, t.ppb), t.last_error_us);
		next_status += STATUS_PRINT_MS;
	}
}

K_THREAD_DEFINE(print_tid, 2048, print_task, NULL, NULL, NULL, PRIO_PRINT, 0, SYS_FOREVER_MS);

/* ---------------------------------------------------------------- receive path */

void raft_agent_rx(const struct raft_rx *it)
{
	k_msgq_put(&agent_q, it, K_NO_WAIT);
}

void raft_agent_event(uint8_t kind)
{
	uint8_t e = EV_APP_MAKE(kind, MY_ZONE);

	k_msgq_put(&event_q, &e, K_NO_WAIT);
}

static int64_t last_direct_ref_ms;
static int64_t ref_failure_ms; /* last REF from the master with REF_MODE_FAILURE, 0 none */
static int64_t ref_ok_ms;      /* last REF from the master without it */

static void agent_rx(const struct raft_rx *it, uint32_t now)
{
	uint16_t id = it->f.id;
	uint8_t zone = (uint8_t)msg_sender(id, it->f.data);

	raft_heard(&R, zone, it->bus, it->relayed, now);
	if (is_hb(id)) {
		return; /* liveness only (raft_heard above); the relay choice reads monitor.c */
	}
	if (raft_base(id) != ID_REF_BASE) {
		if (it->first) {
			raft_on_frame(&R, id, it->f.data, now);
		}
		return;
	}
	if (it->first) {
		raft_on_ref(&R, zone, it->f.data, now);
	}
	if (!raft_ref_is_master(&R, zone, it->f.data)) {
		return;
	}
	/* relayed copies are later by the relay's latency: use them only when cut off */
	if (it->relayed && now - last_direct_ref_ms < 3 * RAFT_CONF_HEARTBEAT_MS) {
		return;
	}
	if (!it->relayed) {
		last_direct_ref_ms = now;
	}
	struct raft_ref m;

	ref_decode(it->f.data, R.term, &m);
	if (m.mode & REF_MODE_FAILURE) {
		ref_failure_ms = now;
	} else {
		ref_ok_ms = now;
	}
	k_spinlock_key_t key = k_spin_lock(&ts_lock);
	bool used = ts_on_ref(&TS, it->bus, m.cycle, m.followup, it->relayed, m.time_us, it->rx_us);
	int64_t g = ts_global(&TS, local_us());

	k_spin_unlock(&ts_lock, key);
	if (used) {
		set_realtime(g);
	}
}

/* ---------------------------------------------------------------- REF_TX */

static atomic_t ref_cycle_sent[2];  /* cycle whose TX-done we last saw, per bus */
static int64_t ref_done_local[2];
static uint8_t ref_cycle;
static atomic_t ref_pending_cycle;

static void ref_done(int bus)
{
	int64_t t = local_us(); /* end of frame on this bus (driver thread) */
	k_spinlock_key_t key = k_spin_lock(&ts_lock); /* 64-bit: no torn reads on the M4 */

	ref_done_local[bus] = t;
	atomic_set(&ref_cycle_sent[bus], atomic_get(&ref_pending_cycle));
	k_spin_unlock(&ts_lock, key);
}

static void ref_task(void *p1, void *p2, void *p3)
{
	static atomic_t seq;
	int64_t next = k_uptime_get();

	while (1) {
		next += RAFT_CONF_HEARTBEAT_MS;
		k_sleep(K_TIMEOUT_ABS_MS(next));

		uint32_t term;
		uint8_t mode;

		k_mutex_lock(&raft_lock, K_FOREVER);
		bool lead = raft_ref_info(&R, &term, &mode);
		k_mutex_unlock(&raft_lock);
		if (!lead) {
			continue;
		}
		uint8_t d[2][MSG_DLC];

		for (int bus = 0; bus < 2; bus++) {
			/* follow-up time of the previous REF on this bus, if it made it out */
			k_spinlock_key_t key = k_spin_lock(&ts_lock);
			bool fu = atomic_get(&ref_cycle_sent[bus]) == (uint8_t)(ref_cycle - 1);
			int64_t t = ts_global(&TS, fu ? ref_done_local[bus] : local_us());

			k_spin_unlock(&ts_lock, key);
			struct raft_ref m = { .term = term, .cycle = ref_cycle, .time_us = (uint64_t)t,
					      .mode = mode, .followup = fu };

			ref_encode(&m, d[bus]);
		}
		atomic_set(&ref_pending_cycle, ref_cycle);
		send_ref(ID_REF(MY_ZONE), &seq, d, ref_done);
		ref_cycle++;
	}
}

K_THREAD_DEFINE(ref_tid, 1024, ref_task, NULL, NULL, NULL, PRIO_REF, 0, SYS_FOREVER_MS);

/* ---------------------------------------------------------------- agent thread */

bool raft_agent_failure_mode(void)
{
	return atomic_get(&failure_mode);
}

uint8_t raft_agent_hb_sync_bits(void)
{
	return (uint8_t)atomic_get(&sync_bits);
}

static void agent_tick(uint32_t now)
{
	uint8_t e;
	/* the role at the last tick: we can also become leader in agent_rx (a vote reply) */
	static uint8_t was = RAFT_BOOT;

	while (k_msgq_get(&event_q, &e, K_NO_WAIT) == 0) {
		raft_report(&R, e);
	}
	raft_tick(&R, now);
	if (R.role == ROLE_LEADER && was != ROLE_LEADER) {
		k_spinlock_key_t key = k_spin_lock(&ts_lock);

		ts_become_master(&TS, local_us()); /* carry on from our synced clock: no jump */
		k_spin_unlock(&ts_lock, key);
	}
	k_spinlock_key_t key = k_spin_lock(&ts_lock);

	ts_check(&TS, local_us());
	bool locked = TS.locked, drift = TS.syncs > 2 * TS_BASELINE_US / 1000 / RAFT_CONF_HEARTBEAT_MS;

	k_spin_unlock(&ts_lock, key);

	bool lead = R.role == ROLE_LEADER;
	bool sync = lead || locked;

	was = R.role;

	/* failure mode: the committed log, or sooner the master's REF bit (all at once) */
	bool fail = !R.net.cockpit_ok;

	if (!lead && R.leader != ZONE_NONE) {
		if (ref_failure_ms && now - ref_failure_ms < 100 && ref_failure_ms >= ref_ok_ms) {
			fail = true;
		} else if (ref_ok_ms && now - ref_ok_ms < 100 && ref_ok_ms > ref_failure_ms) {
			fail = false;
		}
	}
	atomic_set(&failure_mode, fail);
	atomic_set(&sync_bits, (sync ? SYNC_LOCKED : 0) | (drift ? SYNC_DRIFT : 0));
	bool hb_both[4] = { false };

	for (int x = ZONE_N1; x <= ZONE_N3; x++) {
		hb_both[x] = x != MY_ZONE && monitor_hb_both(x);
	}
	atomic_set(&relay_zone, route_relay(&R.net, hb_both, MY_ZONE, monitor_sending_hb()));
	gpio_pin_set_dt(&leader_led, lead);
	gpio_pin_set_dt(&sync_led, sync);

	/* who leads, on every change (and the first time it is known) */
	static uint8_t shown_leader = 0xFF, shown_role = 0xFF;
	static uint32_t shown_term;

	if (R.leader != shown_leader || R.term != shown_term || R.role != shown_role) {
		agent_printf("[%u] leader: %s (term %u), this node %s", now,
			     raft_node_name(R.leader), R.term, raft_role_name(R.role));
		shown_leader = R.leader;
		shown_term = R.term;
		shown_role = R.role;
	}
}

static void agent_task(void *p1, void *p2, void *p3)
{
	struct raft_rx it;
	int64_t next = k_uptime_get();

	while (1) {
		int64_t wait = next - k_uptime_get();

		if (wait > 0 && k_msgq_get(&agent_q, &it, K_MSEC(wait)) == 0) {
			k_mutex_lock(&raft_lock, K_FOREVER);
			agent_rx(&it, (uint32_t)k_uptime_get());
			while (k_msgq_get(&agent_q, &it, K_NO_WAIT) == 0) {
				agent_rx(&it, (uint32_t)k_uptime_get());
			}
			k_mutex_unlock(&raft_lock);
			continue;
		}
		k_mutex_lock(&raft_lock, K_FOREVER);
		agent_tick((uint32_t)k_uptime_get());
		k_mutex_unlock(&raft_lock);
		next += RAFT_TICK_MS;
		if (next < k_uptime_get()) {
			next = k_uptime_get() + RAFT_TICK_MS; /* fell behind (a long printout): resync */
		}
	}
}

K_THREAD_DEFINE(agent_tid, 3072, agent_task, NULL, NULL, NULL, PRIO_RAFT, 0, SYS_FOREVER_MS);

int raft_agent_init(void)
{
	if (gpio_pin_configure_dt(&leader_led, GPIO_OUTPUT_INACTIVE) ||
	    gpio_pin_configure_dt(&sync_led, GPIO_OUTPUT_INACTIVE)) {
		return -ENODEV;
	}
	struct raft_io io = { .send = io_send, .applied = io_applied, .log = io_log };

	ts_init(&TS);
	raft_init(&R, MY_ZONE, &io, (uint32_t)k_uptime_get());
	printk("raft: %s, default leader %d, seed %u, log %d entries\n",
	       ((const char *const[])RAFT_CONF_NODE_NAMES)[MY_ZONE], RAFT_CONF_DEFAULT_LEADER,
	       RAFT_CONF_SEED, RAFT_CONF_LOG_SIZE);
	k_thread_start(print_tid);
	k_thread_start(agent_tid);
	k_thread_start(ref_tid);
	return 0;
}
```

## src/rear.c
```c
/* N3 (drivetrain): DRIVE and PID */
#include <zephyr/drivers/gpio.h>
#include <zephyr/drivers/pwm.h>
#include "zone.h"

#define USER DT_PATH(zephyr_user)

static const struct pwm_dt_spec motor = PWM_DT_SPEC_GET(USER);
static const struct gpio_dt_spec dir_a = GPIO_DT_SPEC_GET(USER, dir_a_gpios);
static const struct gpio_dt_spec pwm_set_pin = GPIO_DT_SPEC_GET(USER, pwm_set_gpios);

static K_SEM_DEFINE(ctrl_sem, 0, 1);
static K_MUTEX_DEFINE(ctrl_lock);
static struct ctrl latest;
static uint8_t duty_pct; /* setpoint DRIVE hands to PID */

void actuator_ctrl(const struct ctrl *c)
{
	k_mutex_lock(&ctrl_lock, K_FOREVER);
	latest = *c;
	k_mutex_unlock(&ctrl_lock);
	k_sem_give(&ctrl_sem);
}

/* entering error: wake DRIVE so the motor brakes now, not on the next CTRL */
void actuator_error(void)
{
	k_sem_give(&ctrl_sem);
}

static void set_duty(uint8_t pct)
{
	pwm_set_pulse_dt(&motor, motor.period / 100 * pct);
}

/* DRIVE: brake in error or on brake pedal; DIR_A high = forward, low = braking */
static void drive_task(void *p1, void *p2, void *p3)
{
	while (1) {
		k_sem_take(&ctrl_sem, K_FOREVER);
		k_mutex_lock(&ctrl_lock, K_FOREVER);
		bool brake = monitor_in_error() || latest.brake > 0;
		uint8_t duty = brake ? 0 : latest.throttle;
		duty_pct = duty;
		k_mutex_unlock(&ctrl_lock);

		gpio_pin_set_dt(&dir_a, !brake);
		set_duty(duty);
		gpio_pin_toggle_dt(&pwm_set_pin);
	}
}

/* PID: 10 ms. No encoders in this lab, so it only holds the setpoint;
 * the Lab 2 speed loop goes here to drive the real car. */
static void pid_task(void *p1, void *p2, void *p3)
{
	int64_t next = k_uptime_get();

	while (1) {
		k_mutex_lock(&ctrl_lock, K_FOREVER);
		uint8_t duty = duty_pct;
		k_mutex_unlock(&ctrl_lock);

		set_duty(duty);
		next += PID_PERIOD_MS;
		k_sleep(K_TIMEOUT_ABS_MS(next));
	}
}

K_THREAD_DEFINE(drive_tid, 1024, drive_task, NULL, NULL, NULL, PRIO_ACT, 0, SYS_FOREVER_MS);
K_THREAD_DEFINE(pid_tid, 1024, pid_task, NULL, NULL, NULL, PRIO_PID, 0, SYS_FOREVER_MS);

int actuator_init(void)
{
	if (!pwm_is_ready_dt(&motor) || !gpio_is_ready_dt(&dir_a) ||
	    gpio_pin_configure_dt(&dir_a, GPIO_OUTPUT_INACTIVE) ||
	    gpio_pin_configure_dt(&pwm_set_pin, GPIO_OUTPUT_INACTIVE)) {
		return -ENODEV;
	}
	set_duty(0);
	k_thread_start(drive_tid);
	k_thread_start(pid_tid);
	return 0;
}
```
